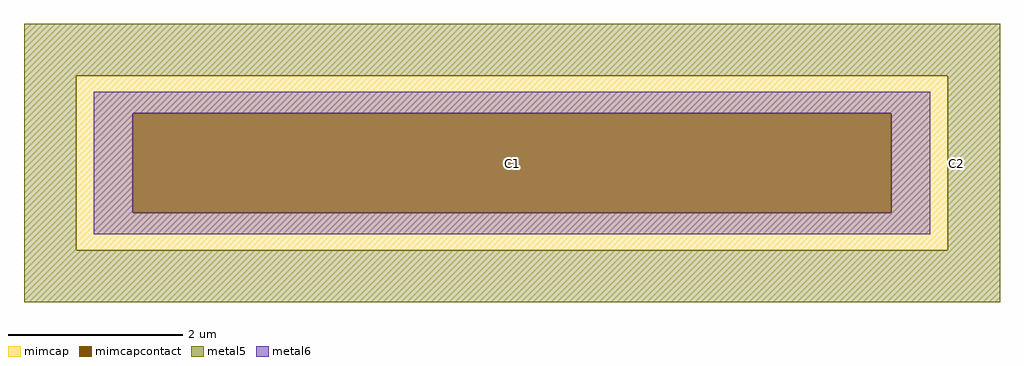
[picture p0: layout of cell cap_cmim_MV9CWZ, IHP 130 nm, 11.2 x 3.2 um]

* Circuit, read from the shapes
.subckt cap_cmim_MV9CWZ C1 C2
XC1 C1 C2 cap_cmim w=10u l=2u
.ends

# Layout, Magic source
magic
tech ihp-sg13g2
<< metal5 >>
rect -560 100 560 160
rect -560 -100 -500 100
rect 500 -100 560 100
rect -560 -160 560 -100
<< mimcap >>
rect -500 57 500 100
rect -500 -57 -435 57
rect 435 -57 500 57
rect -500 -100 500 -57
<< mimcapcontact >>
rect -435 -57 435 57
<< metal6 >>
rect -480 57 480 82
rect -480 -57 -435 57
rect 435 -57 480 57
rect -480 -82 480 -57
<< labels >>
rlabel metal6 s 0 0 0 0 4 C1
rlabel metal5 s 510 0 510 0 4 C2
<< properties >>
string FIXED_BBOX -560 -160 560 160
<< end >>
